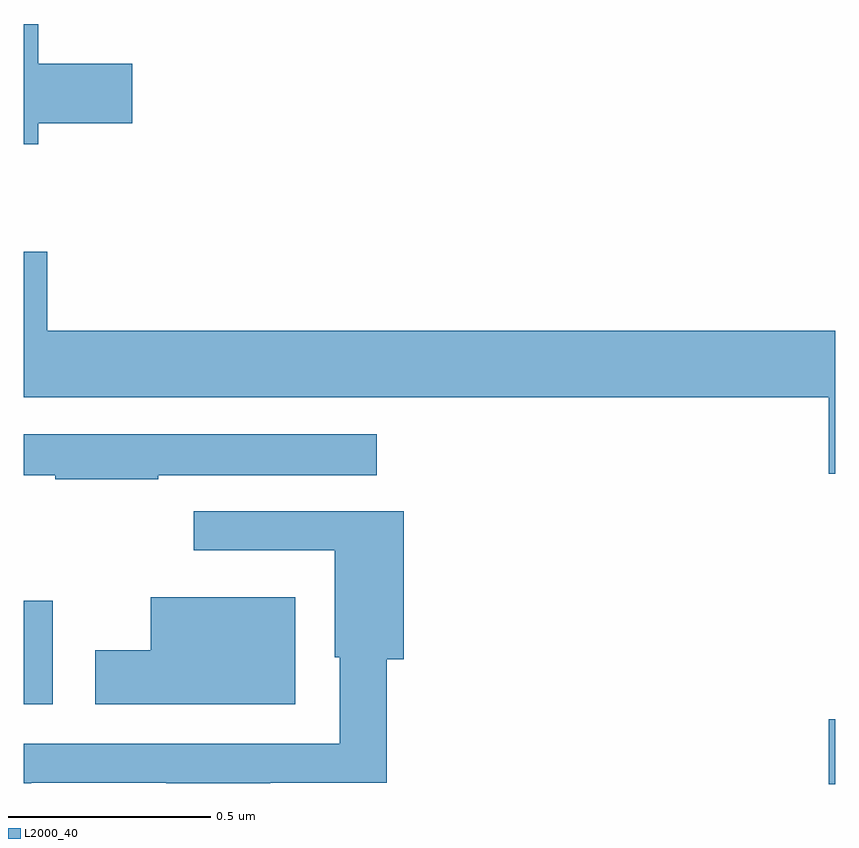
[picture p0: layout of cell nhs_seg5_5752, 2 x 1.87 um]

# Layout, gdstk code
import gdstk
lib = gdstk.Library(unit=1e-6, precision=1e-09)
def R(c, l, rs):  # rectangles x0, y0, x1, y1
    for r in rs: c.add(gdstk.rectangle(r[:2], r[2:], *l))
def P(c, l, *ps):  # polygons
    for p in ps: c.add(gdstk.Polygon(p, *l))
L2000_40 = (2000, 40)

nhs_seg5_5752 = lib.new_cell('nhs_seg5_5752')
R(nhs_seg5_5752, L2000_40, [(188.984,863.799,189,863.959), (187,863.996,187.072,864.25)])
P(nhs_seg5_5752, L2000_40, [(187.036,865.427),(187.267,865.427),(187.267,865.574),(187.036,865.574),(187.036,865.672),(187,865.672),(187,865.376),(187.036,865.376)],
  [(189,864.916),(187.058,864.916),(187.058,865.111),(187,865.111),(187,864.752),(188.984,864.752),(188.984,864.564),(189,864.564)],
  [(187.331,864.56),(187.87,864.56),(187.87,864.661),(187,864.661),(187,864.56),(187.078,864.56),(187.078,864.55),(187.331,864.55)],
  [(187.019,863.802),(187.351,863.802),(187.351,863.801),(187.607,863.801),(187.607,863.802),(187.895,863.802),(187.895,864.107),(187.937,864.107),(187.937,864.471),(187.419,864.471),(187.419,864.375),(187.766,864.375),(187.766,864.111),(187.779,864.111),(187.779,863.898),(187,863.898),(187,863.801),(187.019,863.801)],
  [(187.669,864.259),(187.313,864.259),(187.313,864.129),(187.176,864.129),(187.176,863.996),(187.669,863.996)])

lib.write_gds('nhs_seg5_5752.gds')
